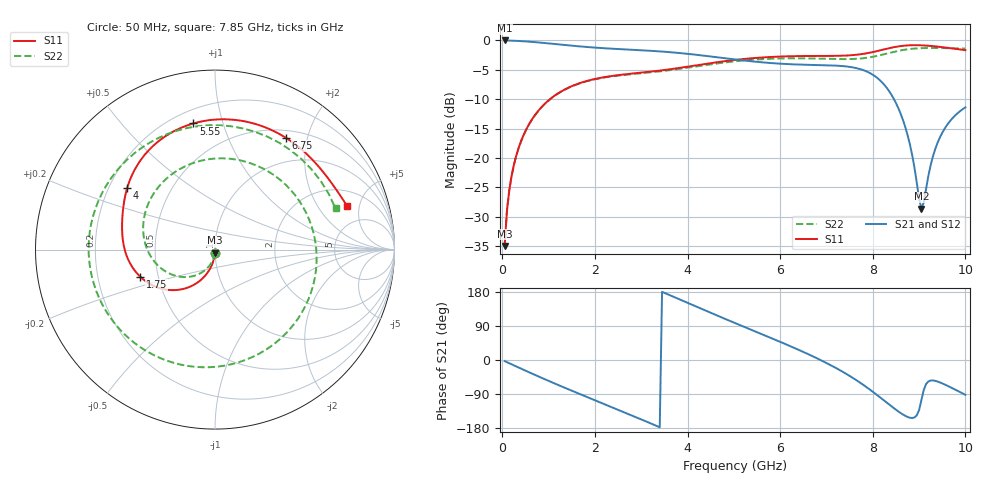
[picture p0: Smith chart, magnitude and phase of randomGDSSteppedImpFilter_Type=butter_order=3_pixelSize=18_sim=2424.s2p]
! freq	dB(S11)	phase(S11)	dB(S12)	phase(S12)
!  dB(S21)	phase(S21)	dB(S22)	phase(S22)
!S-par simulation data
#  GHz  S  DB  R 50
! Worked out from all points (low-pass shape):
!   200 points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, 50 MHz to 10 GHz, reference 50 ohm
!   highest |S21| = -0.01 dB at 50 MHz (marker M1); lowest = -28.6 dB at 9.05 GHz (marker M2)
!   |S21| within 3 dB of the highest: start of sweep to 4.779 GHz
!   lowest |S11| = -35.0 dB at 50 MHz (marker M3), VSWR 1.04, Z = 49.9 - j1.77 ohm
!   |S11| at or under -10 dB: start of sweep to 1.03 GHz
!   |S22| runs from -35.0 to -1.3 dB; largest |S21 - S12| = 0
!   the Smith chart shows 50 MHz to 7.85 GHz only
!   S11 on the Smith chart (normalised r, x): 50 MHz: 1.00, -0.04; 1.75 GHz: 0.40, -0.15; 4 GHz: 0.28, +0.29; 5.55 GHz: 0.28, +0.80; 6.75 GHz: 0.61, +1.66; 7.85 GHz: 3.09, +3.76
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0.05  -35.00 -92.2  -0.01 -2.9  -0.01 -2.9  -35.02 -93.5
0.2  -23.09 -99.2  -0.04 -11.4  -0.04 -11.4  -23.10 -104.0
0.5  -15.42 -112.6  -0.17 -28.1  -0.17 -28.1  -15.45 -124.6
1.1  -9.57 -137.2  -0.58 -60.4  -0.58 -60.4  -9.60 -164.8
1.75  -7.07 -160.0  -1.07 -93.6  -1.07 -93.6  -7.12 151.7
2.65  -5.77 174.9  -1.53 -138.7  -1.53 -138.7  -5.86 86.7
3.4  -5.14 158.2  -1.87 -177.5  -1.87 -177.5  -5.27 25.9
4  -4.47 144.9  -2.28 150.8  -2.28 150.8  -4.65 -24.0
4.55  -3.81 130.7  -2.78 121.9  -2.78 121.9  -4.01 -67.1
5.05  -3.30 116.0  -3.27 96.3  -3.27 96.3  -3.53 -103.2
5.55  -2.94 99.8  -3.69 70.9  -3.69 70.9  -3.21 -137.3
6.15  -2.71 79.0  -4.03 40.1  -4.03 40.1  -3.05 -177.7
6.7  -2.65 59.3  -4.17 10.0  -4.17 10.0  -3.07 141.9
6.75  -2.64 57.5  -4.18 7.1  -4.18 7.1  -3.08 137.9
7.35  -2.60 36.1  -4.37 -31.0  -4.37 -31.0  -3.19 82.1
7.85  -2.22 18.3  -5.22 -70.3  -5.22 -70.3  -2.98 18.8
8.1  -1.81 8.4  -6.40 -93.1  -6.40 -93.1  -2.62 -19.5
8.35  -1.33 -3.3  -8.60 -117.2  -8.60 -117.2  -2.14 -60.2
8.65  -0.92 -19.7  -13.50 -143.7  -13.50 -143.7  -1.63 -107.7
9.05  -0.83 -42.9  -28.63 -106.3  -28.63 -106.3  -1.32 -162.8
9.4  -1.06 -63.0  -17.40 -56.8  -17.40 -56.8  -1.29 157.6
10  -1.66 -96.8  -11.39 -91.8  -11.39 -91.8  -1.39 103.2
